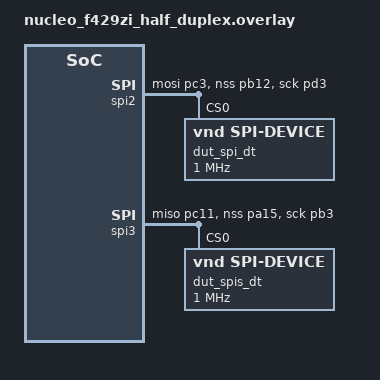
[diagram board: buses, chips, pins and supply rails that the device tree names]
/*
 * SPDX-FileCopyrightText: Copyright (c) 2026 STMicroelectronics
 * SPDX-License-Identifier: Apache-2.0
 */

#include <zephyr/dt-bindings/spi/spi.h>

/* The two SPI instances need to be connected as follows:
 * CN9:5 (SPI2 MOSI) to CN8:8 (SPI3 MISO)
 * CN7:7 (SPI2 NSS) to CN7:9 (SPI3 NSS)
 * CN9:10 (SPI2 SCK) to CN7:15 (SPI3 SCK)
 */

&spi2 {
	interrupts = <36 1>;
	pinctrl-0 = <&spi2_mosi_pc3 &spi2_nss_pb12 &spi2_sck_pd3>;
	pinctrl-names = "default";
	status = "okay";

	dut_spi_dt: test-spi-dev@0 {
		compatible = "vnd,spi-device";
		reg = <0>;
		spi-max-frequency = <DT_FREQ_M(1)>;
		duplex = <SPI_HALF_DUPLEX>;
	};
};

dut_spis: &spi3 {
	interrupts = <51 0>;
	pinctrl-0 = <&spi3_miso_pc11 &spi3_nss_pa15 &spi3_sck_pb3>;
	pinctrl-names = "default";
	status = "okay";

	dut_spis_dt: test-spi-dev@0 {
		compatible = "vnd,spi-device";
		reg = <0>;
		spi-max-frequency = <DT_FREQ_M(1)>;
		duplex = <SPI_HALF_DUPLEX>;
	};
};
